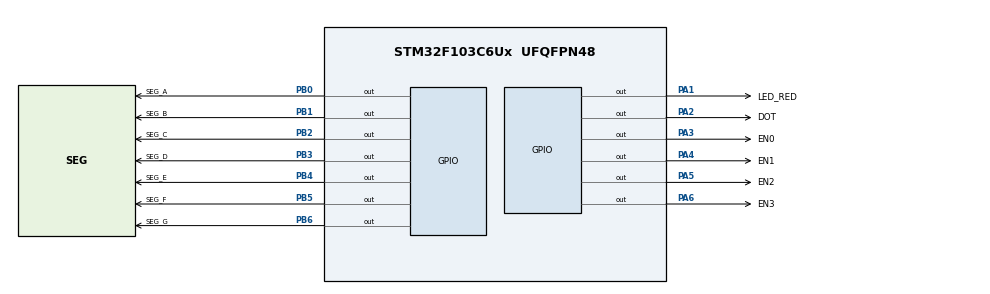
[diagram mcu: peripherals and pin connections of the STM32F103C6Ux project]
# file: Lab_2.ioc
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Mcu.Family=STM32F1
Mcu.Name=STM32F103C6Ux
Mcu.Package=UFQFPN48
NVIC.PriorityGroup=NVIC_PRIORITYGROUP_4
NVIC.TIM2_IRQn=true\:0\:0\:false\:false\:true\:true\:true
PA1.GPIO_Label=LED_RED
PA1.Signal=GPIO_Output
PA2.GPIO_Label=DOT
PA2.Signal=GPIO_Output
PA3.GPIO_Label=EN0
PA3.Signal=GPIO_Output
PA4.GPIO_Label=EN1
PA4.Signal=GPIO_Output
PA5.GPIO_Label=EN2
PA5.Signal=GPIO_Output
PA6.GPIO_Label=EN3
PA6.Signal=GPIO_Output
PB0.GPIO_Label=SEG_A
PB0.Signal=GPIO_Output
PB1.GPIO_Label=SEG_B
PB1.Signal=GPIO_Output
PB2.GPIO_Label=SEG_C
PB2.Signal=GPIO_Output
PB3.GPIO_Label=SEG_D
PB3.Signal=GPIO_Output
PB4.GPIO_Label=SEG_E
PB4.Signal=GPIO_Output
PB5.GPIO_Label=SEG_F
PB5.Signal=GPIO_Output
PB6.GPIO_Label=SEG_G
PB6.Signal=GPIO_Output
ProjectManager.HeapSize=0x200
ProjectManager.StackSize=0x400
ProjectManager.TargetToolchain=STM32CubeIDE
RCC.APB1Freq_Value=8000000
RCC.APB2Freq_Value=8000000
TIM2.Period=9
TIM2.Prescaler=7999
VP_SYS_VS_ND.Mode=No_Debug
VP_TIM2_VS_ClockSourceINT.Mode=Internal
board=custom

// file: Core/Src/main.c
/* USER CODE BEGIN Header */
/**
  ******************************************************************************
  * @file           : main.c
  * @brief          : Main program body
  ******************************************************************************
  * @attention
  *
  * <h2><center>&copy; Copyright (c) 2024 STMicroelectronics.
  * All rights reserved.</center></h2>
  *
  * This software component is licensed by ST under BSD 3-Clause license,
  * the "License"; You may not use this file except in compliance with the
  * License. You may obtain a copy of the License at:
  *                        opensource.org/licenses/BSD-3-Clause
  *
  ******************************************************************************
  */
/* USER CODE END Header */
#include "main.h"
#include "software_timer.h"

/* USER CODE BEGIN PD */
#define LED0 0
#define LED1 1
#define LED2 2
#define LED3 3

/* USER CODE END PD */

TIM_HandleTypeDef htim2;

void SystemClock_Config(void);
static void MX_TIM2_Init(void);
static void MX_GPIO_Init(void);

/* USER CODE BEGIN 0 */
int counter_7SEG = 25;
int counter_RED = 100;
int index_led = LED0;
const int MAX_LED = 4;
int led_buffer[4] = {1, 2, 3, 4};
int hour = 15, minute = 8, second = 50;
/* USER CODE END 0 */

int main(void)
{

  /* MCU Configuration--------------------------------------------------------*/

  /* Reset of all peripherals, Initializes the Flash interface and the Systick. */
  HAL_Init();

  /* USER CODE BEGIN Init */
void init_lab2(){
	HAL_GPIO_TogglePin(LED_RED_GPIO_Port, LED_RED_Pin);
	HAL_GPIO_TogglePin(DOT_GPIO_Port, DOT_Pin);

    HAL_GPIO_WritePin(EN0_GPIO_Port, EN0_Pin, RESET);
    HAL_GPIO_WritePin(EN1_GPIO_Port, EN1_Pin, SET);
    HAL_GPIO_WritePin(EN2_GPIO_Port, EN2_Pin, SET);
    HAL_GPIO_WritePin(EN3_GPIO_Port, EN3_Pin, SET);

  	HAL_GPIO_TogglePin(SEG_A_GPIO_Port, SEG_A_Pin);
  	HAL_GPIO_TogglePin(SEG_B_GPIO_Port, SEG_B_Pin);
  	HAL_GPIO_TogglePin(SEG_C_GPIO_Port, SEG_C_Pin);
  	HAL_GPIO_TogglePin(SEG_D_GPIO_Port, SEG_D_Pin);
  	HAL_GPIO_TogglePin(SEG_E_GPIO_Port, SEG_E_Pin);
  	HAL_GPIO_TogglePin(SEG_F_GPIO_Port, SEG_F_Pin);
  	HAL_GPIO_TogglePin(SEG_G_GPIO_Port, SEG_G_Pin);
}
  /* USER CODE END Init */

  /* Configure the system clock */
  SystemClock_Config();

  /* Initialize all configured peripherals */
  MX_TIM2_Init();
  MX_GPIO_Init();
  /* USER CODE BEGIN 2 */
  HAL_TIM_Base_Start_IT (& htim2);
  init_lab2();
  /* USER CODE END 2 */

  /* Infinite loop */
  /* USER CODE BEGIN WHILE */
  setTimer7seg(250);
  setTimerDot(1000);

  while (1)
  {
	  index_led = index_led % MAX_LED;
	  display7SEG(led_buffer[index_led]);
      if (timer_flag[0] == 1){
          update7SEG(index_led++);
          setTimer7seg(250);
      }
      if (timer_flag[1] == 1){
          second++;
          if (second >= 60){
              second = 0;
              minute++;
              if (minute >= 60){
                  minute = 0;
                  hour++;
                  if (hour >= 24){
                      hour = 0;
                  }
              }
          }
          HAL_GPIO_TogglePin(LED_RED_GPIO_Port, LED_RED_Pin);
          HAL_GPIO_TogglePin(DOT_GPIO_Port, DOT_Pin);
          setTimerDot(1000);
      }
      updateClockBuffer();
    /* USER CODE END WHILE */

  }
}

void SystemClock_Config(void)
{
  RCC_OscInitTypeDef RCC_OscInitStruct = {0};
  RCC_ClkInitTypeDef RCC_ClkInitStruct = {0};

  /** Initializes the RCC Oscillators according to the specified parameters
  * in the RCC_OscInitTypeDef structure.
  */
  RCC_OscInitStruct.OscillatorType = RCC_OSCILLATORTYPE_HSI;
  RCC_OscInitStruct.HSIState = RCC_HSI_ON;
  RCC_OscInitStruct.HSICalibrationValue = RCC_HSICALIBRATION_DEFAULT;
  RCC_OscInitStruct.PLL.PLLState = RCC_PLL_NONE;
  if (HAL_RCC_OscConfig(&RCC_OscInitStruct) != HAL_OK)
  {
    Error_Handler();
  }
  /** Initializes the CPU, AHB and APB buses clocks
  */
  RCC_ClkInitStruct.ClockType = RCC_CLOCKTYPE_HCLK|RCC_CLOCKTYPE_SYSCLK
                              |RCC_CLOCKTYPE_PCLK1|RCC_CLOCKTYPE_PCLK2;
  RCC_ClkInitStruct.SYSCLKSource = RCC_SYSCLKSOURCE_HSI;
  RCC_ClkInitStruct.AHBCLKDivider = RCC_SYSCLK_DIV1;
  RCC_ClkInitStruct.APB1CLKDivider = RCC_HCLK_DIV1;
  RCC_ClkInitStruct.APB2CLKDivider = RCC_HCLK_DIV1;

  if (HAL_RCC_ClockConfig(&RCC_ClkInitStruct, FLASH_LATENCY_0) != HAL_OK)
  {
    Error_Handler();
  }
}

static void MX_TIM2_Init(void)
{

  TIM_ClockConfigTypeDef sClockSourceConfig = {0};
  TIM_MasterConfigTypeDef sMasterConfig = {0};

  htim2.Instance = TIM2;
  htim2.Init.Prescaler = 7999;
  htim2.Init.CounterMode = TIM_COUNTERMODE_UP;
  htim2.Init.Period = 9;
  htim2.Init.ClockDivision = TIM_CLOCKDIVISION_DIV1;
  htim2.Init.AutoReloadPreload = TIM_AUTORELOAD_PRELOAD_DISABLE;
  if (HAL_TIM_Base_Init(&htim2) != HAL_OK)
  {
    Error_Handler();
  }
  sClockSourceConfig.ClockSource = TIM_CLOCKSOURCE_INTERNAL;
  if (HAL_TIM_ConfigClockSource(&htim2, &sClockSourceConfig) != HAL_OK)
  {
    Error_Handler();
  }
  sMasterConfig.MasterOutputTrigger = TIM_TRGO_RESET;
  sMasterConfig.MasterSlaveMode = TIM_MASTERSLAVEMODE_DISABLE;
  if (HAL_TIMEx_MasterConfigSynchronization(&htim2, &sMasterConfig) != HAL_OK)
  {
    Error_Handler();
  }

}

static void MX_GPIO_Init(void)
{
  GPIO_InitTypeDef GPIO_InitStruct = {0};

  /* GPIO Ports Clock Enable */
  __HAL_RCC_GPIOA_CLK_ENABLE();
  __HAL_RCC_GPIOB_CLK_ENABLE();

  /*Configure GPIO pin Output Level */
  HAL_GPIO_WritePin(GPIOA, LED_RED_Pin|DOT_Pin|EN0_Pin|EN1_Pin
                          |EN2_Pin|EN3_Pin, GPIO_PIN_RESET);

  /*Configure GPIO pin Output Level */
  HAL_GPIO_WritePin(GPIOB, SEG_A_Pin|SEG_B_Pin|SEG_C_Pin|SEG_D_Pin
                          |SEG_E_Pin|SEG_F_Pin|SEG_G_Pin, GPIO_PIN_RESET);

  /*Configure GPIO pins : LED_RED_Pin DOT_Pin EN0_Pin EN1_Pin
                           EN2_Pin EN3_Pin */
  GPIO_InitStruct.Pin = LED_RED_Pin|DOT_Pin|EN0_Pin|EN1_Pin
                          |EN2_Pin|EN3_Pin;
  GPIO_InitStruct.Mode = GPIO_MODE_OUTPUT_PP;
  GPIO_InitStruct.Pull = GPIO_NOPULL;
  GPIO_InitStruct.Speed = GPIO_SPEED_FREQ_LOW;
  HAL_GPIO_Init(GPIOA, &GPIO_InitStruct);

  /*Configure GPIO pins : SEG_A_Pin SEG_B_Pin SEG_C_Pin SEG_D_Pin
                           SEG_E_Pin SEG_F_Pin SEG_G_Pin */
  GPIO_InitStruct.Pin = SEG_A_Pin|SEG_B_Pin|SEG_C_Pin|SEG_D_Pin
                          |SEG_E_Pin|SEG_F_Pin|SEG_G_Pin;
  GPIO_InitStruct.Mode = GPIO_MODE_OUTPUT_PP;
  GPIO_InitStruct.Pull = GPIO_NOPULL;
  GPIO_InitStruct.Speed = GPIO_SPEED_FREQ_LOW;
  HAL_GPIO_Init(GPIOB, &GPIO_InitStruct);

}

/* USER CODE BEGIN 4 */
void display7SEG(int num){
	switch(num){
		case 0:
			HAL_GPIO_WritePin(SEG_A_GPIO_Port, SEG_A_Pin, GPIO_PIN_RESET);
			HAL_GPIO_WritePin(SEG_B_GPIO_Port, SEG_B_Pin, GPIO_PIN_RESET);
			HAL_GPIO_WritePin(SEG_C_GPIO_Port, SEG_C_Pin, GPIO_PIN_RESET);
			HAL_GPIO_WritePin(SEG_D_GPIO_Port, SEG_D_Pin, GPIO_PIN_RESET);
			HAL_GPIO_WritePin(SEG_E_GPIO_Port, SEG_E_Pin, GPIO_PIN_RESET);
			HAL_GPIO_WritePin(SEG_F_GPIO_Port, SEG_F_Pin, GPIO_PIN_RESET);
			HAL_GPIO_WritePin(SEG_G_GPIO_Port, SEG_G_Pin, GPIO_PIN_SET);
			break;
		case 1:
			HAL_GPIO_WritePin(SEG_A_GPIO_Port, SEG_A_Pin, GPIO_PIN_SET);
			HAL_GPIO_WritePin(SEG_B_GPIO_Port, SEG_B_Pin, GPIO_PIN_RESET);
			HAL_GPIO_WritePin(SEG_C_GPIO_Port, SEG_C_Pin, GPIO_PIN_RESET);
			HAL_GPIO_WritePin(SEG_D_GPIO_Port, SEG_D_Pin, GPIO_PIN_SET);
			HAL_GPIO_WritePin(SEG_E_GPIO_Port, SEG_E_Pin, GPIO_PIN_SET);
			HAL_GPIO_WritePin(SEG_F_GPIO_Port, SEG_F_Pin, GPIO_PIN_SET);
			HAL_GPIO_WritePin(SEG_G_GPIO_Port, SEG_G_Pin, GPIO_PIN_SET);
			break;
		case 2:
			HAL_GPIO_WritePin(SEG_A_GPIO_Port, SEG_A_Pin, GPIO_PIN_RESET);
			HAL_GPIO_WritePin(SEG_B_GPIO_Port, SEG_B_Pin, GPIO_PIN_RESET);
			HAL_GPIO_WritePin(SEG_C_GPIO_Port, SEG_C_Pin, GPIO_PIN_SET);
			HAL_GPIO_WritePin(SEG_D_GPIO_Port, SEG_D_Pin, GPIO_PIN_RESET);
			HAL_GPIO_WritePin(SEG_E_GPIO_Port, SEG_E_Pin, GPIO_PIN_RESET);
			HAL_GPIO_WritePin(SEG_F_GPIO_Port, SEG_F_Pin, GPIO_PIN_SET);
			HAL_GPIO_WritePin(SEG_G_GPIO_Port, SEG_G_Pin, GPIO_PIN_RESET);
			break;
		case 3:
			HAL_GPIO_WritePin(SEG_A_GPIO_Port, SEG_A_Pin, GPIO_PIN_RESET);
			HAL_GPIO_WritePin(SEG_B_GPIO_Port, SEG_B_Pin, GPIO_PIN_RESET);
			HAL_GPIO_WritePin(SEG_C_GPIO_Port, SEG_C_Pin, GPIO_PIN_RESET);
			HAL_GPIO_WritePin(SEG_D_GPIO_Port, SEG_D_Pin, GPIO_PIN_RESET);
			HAL_GPIO_WritePin(SEG_E_GPIO_Port, SEG_E_Pin, GPIO_PIN_SET);
			HAL_GPIO_WritePin(SEG_F_GPIO_Port, SEG_F_Pin, GPIO_PIN_SET);
			HAL_GPIO_WritePin(SEG_G_GPIO_Port, SEG_G_Pin, GPIO_PIN_RESET);
			break;
		case 4:
			HAL_GPIO_WritePin(SEG_A_GPIO_Port, SEG_A_Pin, GPIO_PIN_SET);
			HAL_GPIO_WritePin(SEG_B_GPIO_Port, SEG_B_Pin, GPIO_PIN_RESET);
			HAL_GPIO_WritePin(SEG_C_GPIO_Port, SEG_C_Pin, GPIO_PIN_RESET);
			HAL_GPIO_WritePin(SEG_D_GPIO_Port, SEG_D_Pin, GPIO_PIN_SET);
			HAL_GPIO_WritePin(SEG_E_GPIO_Port, SEG_E_Pin, GPIO_PIN_SET);
			HAL_GPIO_WritePin(SEG_F_GPIO_Port, SEG_F_Pin, GPIO_PIN_RESET);
			HAL_GPIO_WritePin(SEG_G_GPIO_Port, SEG_G_Pin, GPIO_PIN_RESET);
			break;
		case 5:
			HAL_GPIO_WritePin(SEG_A_GPIO_Port, SEG_A_Pin, GPIO_PIN_RESET);
			HAL_GPIO_WritePin(SEG_B_GPIO_Port, SEG_B_Pin, GPIO_PIN_SET);
			HAL_GPIO_WritePin(SEG_C_GPIO_Port, SEG_C_Pin, GPIO_PIN_RESET);
			HAL_GPIO_WritePin(SEG_D_GPIO_Port, SEG_D_Pin, GPIO_PIN_RESET);
			HAL_GPIO_WritePin(SEG_E_GPIO_Port, SEG_E_Pin, GPIO_PIN_SET);
			HAL_GPIO_WritePin(SEG_F_GPIO_Port, SEG_F_Pin, GPIO_PIN_RESET);
			HAL_GPIO_WritePin(SEG_G_GPIO_Port, SEG_G_Pin, GPIO_PIN_RESET);
			break;
		case 6:
			HAL_GPIO_WritePin(SEG_A_GPIO_Port, SEG_A_Pin, GPIO_PIN_RESET);
			HAL_GPIO_WritePin(SEG_B_GPIO_Port, SEG_B_Pin, GPIO_PIN_SET);
			HAL_GPIO_WritePin(SEG_C_GPIO_Port, SEG_C_Pin, GPIO_PIN_RESET);
			HAL_GPIO_WritePin(SEG_D_GPIO_Port, SEG_D_Pin, GPIO_PIN_RESET);
			HAL_GPIO_WritePin(SEG_E_GPIO_Port, SEG_E_Pin, GPIO_PIN_RESET);
			HAL_GPIO_WritePin(SEG_F_GPIO_Port, SEG_F_Pin, GPIO_PIN_RESET);
			HAL_GPIO_WritePin(SEG_G_GPIO_Port, SEG_G_Pin, GPIO_PIN_RESET);
			break;
		case 7:
			HAL_GPIO_WritePin(SEG_A_GPIO_Port, SEG_A_Pin, GPIO_PIN_RESET);
			HAL_GPIO_WritePin(SEG_B_GPIO_Port, SEG_B_Pin, GPIO_PIN_RESET);
			HAL_GPIO_WritePin(SEG_C_GPIO_Port, SEG_C_Pin, GPIO_PIN_RESET);
			HAL_GPIO_WritePin(SEG_D_GPIO_Port, SEG_D_Pin, GPIO_PIN_SET);
			HAL_GPIO_WritePin(SEG_E_GPIO_Port, SEG_E_Pin, GPIO_PIN_SET);
			HAL_GPIO_WritePin(SEG_F_GPIO_Port, SEG_F_Pin, GPIO_PIN_SET);
			HAL_GPIO_WritePin(SEG_G_GPIO_Port, SEG_G_Pin, GPIO_PIN_SET);
			break;
		case 8:
			HAL_GPIO_WritePin(SEG_A_GPIO_Port, SEG_A_Pin, GPIO_PIN_RESET);
			HAL_GPIO_WritePin(SEG_B_GPIO_Port, SEG_B_Pin, GPIO_PIN_RESET);
			HAL_GPIO_WritePin(SEG_C_GPIO_Port, SEG_C_Pin, GPIO_PIN_RESET);
			HAL_GPIO_WritePin(SEG_D_GPIO_Port, SEG_D_Pin, GPIO_PIN_RESET);
			HAL_GPIO_WritePin(SEG_E_GPIO_Port, SEG_E_Pin, GPIO_PIN_RESET);
			HAL_GPIO_WritePin(SEG_F_GPIO_Port, SEG_F_Pin, GPIO_PIN_RESET);
			HAL_GPIO_WritePin(SEG_G_GPIO_Port, SEG_G_Pin, GPIO_PIN_RESET);
			break;
		case 9:
			HAL_GPIO_WritePin(SEG_A_GPIO_Port, SEG_A_Pin, GPIO_PIN_RESET);
			HAL_GPIO_WritePin(SEG_B_GPIO_Port, SEG_B_Pin, GPIO_PIN_RESET);
			HAL_GPIO_WritePin(SEG_C_GPIO_Port, SEG_C_Pin, GPIO_PIN_RESET);
			HAL_GPIO_WritePin(SEG_D_GPIO_Port, SEG_D_Pin, GPIO_PIN_RESET);
			HAL_GPIO_WritePin(SEG_E_GPIO_Port, SEG_E_Pin, GPIO_PIN_SET);
			HAL_GPIO_WritePin(SEG_F_GPIO_Port, SEG_F_Pin, GPIO_PIN_RESET);
			HAL_GPIO_WritePin(SEG_G_GPIO_Port, SEG_G_Pin, GPIO_PIN_RESET);
			break;
		default:
			break;
	}
}

void update7SEG(int index) {
    switch(index){
        case LED0:
            HAL_GPIO_WritePin(EN0_GPIO_Port, EN0_Pin, SET);
            HAL_GPIO_WritePin(EN1_GPIO_Port, EN1_Pin, RESET);
            HAL_GPIO_WritePin(EN2_GPIO_Port, EN2_Pin, SET);
            HAL_GPIO_WritePin(EN3_GPIO_Port, EN3_Pin, SET);
            break;
        case LED1:
            HAL_GPIO_WritePin(EN0_GPIO_Port, EN0_Pin, SET);
            HAL_GPIO_WritePin(EN1_GPIO_Port, EN1_Pin, SET);
            HAL_GPIO_WritePin(EN2_GPIO_Port, EN2_Pin, RESET);
            HAL_GPIO_WritePin(EN3_GPIO_Port, EN3_Pin, SET);
            break;
        case LED2:
            HAL_GPIO_WritePin(EN0_GPIO_Port, EN0_Pin, SET);
            HAL_GPIO_WritePin(EN1_GPIO_Port, EN1_Pin, SET);
            HAL_GPIO_WritePin(EN2_GPIO_Port, EN2_Pin, SET);
            HAL_GPIO_WritePin(EN3_GPIO_Port, EN3_Pin, RESET);
            break;
        case LED3:
            HAL_GPIO_WritePin(EN0_GPIO_Port, EN0_Pin, RESET);
            HAL_GPIO_WritePin(EN1_GPIO_Port, EN1_Pin, SET);
            HAL_GPIO_WritePin(EN2_GPIO_Port, EN2_Pin, SET);
            HAL_GPIO_WritePin(EN3_GPIO_Port, EN3_Pin, SET);
            break;
        default:
            break;
    }
}

void updateClockBuffer(){
    led_buffer[0] = hour / 10;
    led_buffer[1] = hour % 10;
    led_buffer[2] = minute / 10;
    led_buffer[3] = minute % 10;
}

void HAL_TIM_PeriodElapsedCallback(TIM_HandleTypeDef * htim){
	timer_run();
}
/* USER CODE END 4 */

void Error_Handler(void)
{
  __disable_irq();
  while (1)
  {
  }
}

/************************ (C) COPYRIGHT STMicroelectronics *****END OF FILE****/
